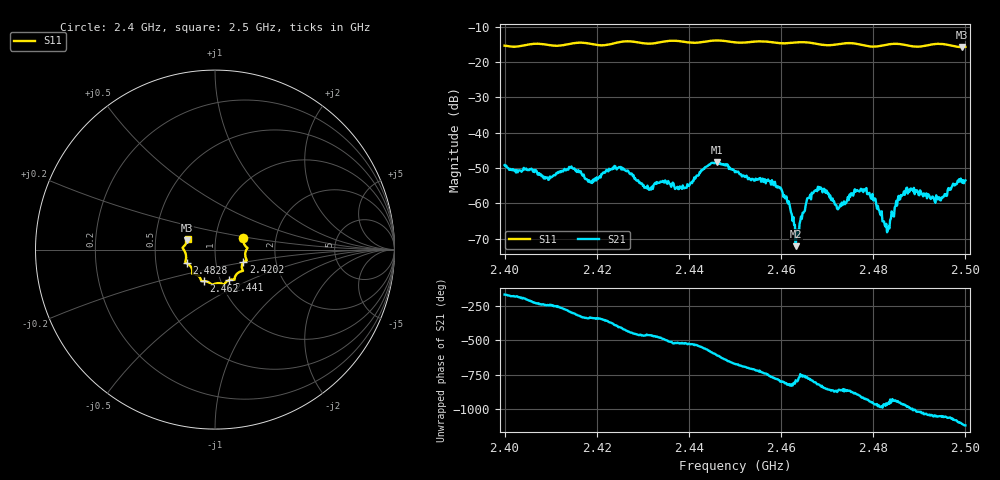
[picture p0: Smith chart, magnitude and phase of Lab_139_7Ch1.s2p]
# Hz S RI R 50
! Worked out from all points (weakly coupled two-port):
!   601 points, 2.4 GHz to 2.5 GHz, reference 50 ohm
!   highest |S21| = -48.36 dB at 2.446 GHz (marker M1); lowest = -72.1 dB at 2.4632 GHz (marker M2)
!   lowest |S11| = -15.8 dB at 2.4993 GHz (marker M3), VSWR 1.39, Z = 36.5 + j3.86 ohm
!   |S11| at or under -10 dB: start of sweep to end of sweep
!   S12 and S22 are empty: the file has one direction only
!   S11 on the Smith chart (normalised r, x): 2.4 GHz: 1.36, +0.18; 2.4202 GHz: 1.36, -0.20; 2.441 GHz: 1.10, -0.39; 2.462 GHz: 0.84, -0.30; 2.4828 GHz: 0.72, -0.11; 2.5 GHz: 0.73, +0.09
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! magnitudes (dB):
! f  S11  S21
! 2.4 GHz  -15.4  -49.2
! 2.4167 GHz  -14.5  -51.5
! 2.4202 GHz  -15.2  -53.2
! 2.425 GHz  -14.3  -49.8
! 2.4308 GHz  -14.8  -55.8
! 2.4333 GHz  -14.5  -54.2
! 2.441 GHz  -14.6  -53.7
! 2.446 GHz  -13.9  -48.4
! 2.45 GHz  -14.4  -51.2
! 2.4585 GHz  -14.5  -54.3
! 2.462 GHz  -14.6  -61.6
! 2.4632 GHz  -14.5  -72.1
! 2.4667 GHz  -14.6  -57.0
! 2.4688 GHz  -15.1  -55.9
! 2.4725 GHz  -14.9  -61.4
! 2.478 GHz  -15.3  -56.1
! 2.4828 GHz  -15.1  -65.8
! 2.4833 GHz  -15.0  -66.6
! 2.4868 GHz  -15.2  -57.6
! 2.4945 GHz  -14.9  -59.1
! 2.4993 GHz  -15.8  -54.2
! 2.5 GHz  -15.7  -53.5
